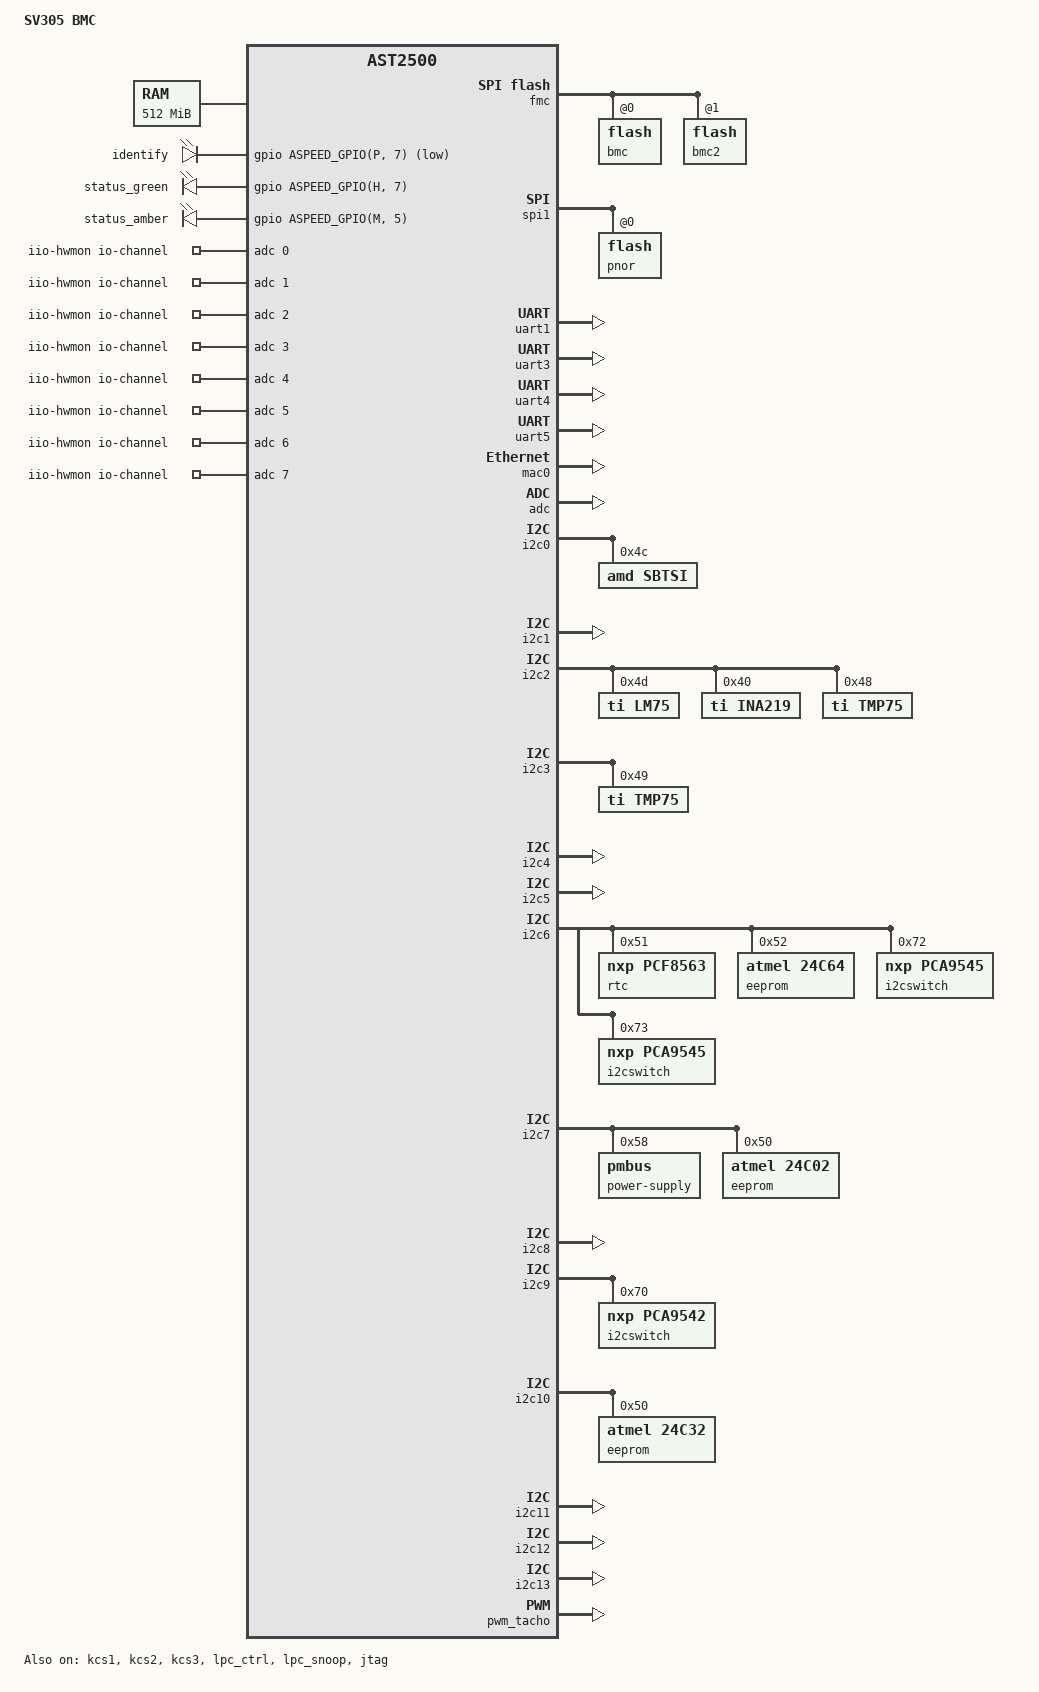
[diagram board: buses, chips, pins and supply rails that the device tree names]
// SPDX-License-Identifier: GPL-2.0+
// Copyright (c) 2019 Wiwynn Inc.
/dts-v1/;

#include "aspeed-g5.dtsi"
#include <dt-bindings/gpio/aspeed-gpio.h>

/ {
	model = "SV305 BMC";
	compatible = "wiwynn,sv305-bmc", "aspeed,ast2500";
	aliases {
		serial0 = &uart1;
		serial4 = &uart5;
	};
	chosen {
		stdout-path = &uart5;
		bootargs = "console=ttyS4,115200 earlyprintk";
	};

	memory@80000000 {
		reg = <0x80000000 0x20000000>;
	};
	reserved-memory {
		#address-cells = <1>;
		#size-cells = <1>;
		ranges;

		flash_memory: region@98000000 {
			no-map;
			reg = <0x98000000 0x04000000>; /* 64M */
		};

		vga_memory: framebuffer@7f000000 {
			no-map;
			reg = <0x7f000000 0x01000000>;
		};
		safs_memory: region@30000000 {
			no-map;
			reg = <0x30000000 0x08000000>; /* 128M */
		};

		ramoops@9c000000 {
			compatible = "ramoops";
			reg = <0x9c000000 0x180000>;
			record-size = <0x4000>;
			console-size = <0x4000>;
			pmsg-size = <0x4000>;
			max-reason = <3>; /* KMSG_DUMP_EMERG */
		};

		gfx_memory: framebuffer@9f000000 {
			no-map;
			compatible = "shared-dma-pool";
			reg = <0x9f000000 0x01000000>; /* 16M */
		};
	};

	leds {
		compatible = "gpio-leds";

		identify {
			gpios = <&gpio ASPEED_GPIO(P, 7) GPIO_ACTIVE_LOW>;
			default-state = "keep";
			retain-state-shutdown;
		};

		status_green {
			gpios = <&gpio ASPEED_GPIO(H, 7) GPIO_ACTIVE_HIGH>;
			default-state = "off";
		};

		status_amber {
			gpios = <&gpio ASPEED_GPIO(M, 5) GPIO_ACTIVE_HIGH>;
			default-state = "on";
		};
	};

	gpio-keys {
		compatible = "gpio-keys";
/*
		id-button {
			label = "id-button";
			gpios = <&gpio ASPEED_GPIO(X, 4) GPIO_ACTIVE_LOW>;
			linux,code = <ASPEED_GPIO(X, 4)>;
		};
		 end-of-post {
			 label = "end-of-post";
			 gpios = <&gpio ASPEED_GPIO(A, 2) GPIO_ACTIVE_LOW>;
			 linux,code = <ASPEED_GPIO(A, 2)>;
		};
*/
/*
		prochot0 {
			label = "prochot0";
			gpios = <&gpio ASPEED_GPIO(C, 6) GPIO_ACTIVE_LOW>;
			linux,code = <ASPEED_GPIO(C, 6)>;
		};
		prochot1 {
			label = "prochot1";
			gpios = <&gpio ASPEED_GPIO(C, 7) GPIO_ACTIVE_LOW>;
			linux,code = <ASPEED_GPIO(C, 7)>;
		};
*/
	};

	iio-hwmon {
		compatible = "iio-hwmon";
		io-channels = <&adc 0>, <&adc 1>, <&adc 2>, <&adc 3>,
			<&adc 4>, <&adc 5>, <&adc 6>, <&adc 7>, <&adc 8>, 
			<&adc 9>, <&adc 10>, <&adc 11>, <&adc 12>, <&adc 13>;
	};
/*
	iio-hwmon-battery {
		compatible = "iio-hwmon";
		io-channels = <&adc 7>;
	};
*/
};

&fmc {
	status = "okay";
	flash@0 {
		status = "okay";
		m25p,fast-read;
		label = "bmc";
//        #include "openbmc-flash-layout.dtsi"
		#include "openbmc-flash-layout-64M.dtsi"
	};
        flash@1 {
		status = "okay";
		m25p,fast-read;
		label = "bmc2";
	};
};

&spi1 {
	status = "okay";
	pinctrl-names = "default";
	pinctrl-0 = <&pinctrl_spi1_default>;
	flash@0 {
		status = "okay";
		m25p,fast-read;
		label = "pnor";
	};
};

&uart1 {
	status = "okay";
	pinctrl-names = "default";
	pinctrl-0 = <&pinctrl_txd1_default
	             &pinctrl_rxd1_default
	             &pinctrl_ncts1_default
	             &pinctrl_nrts1_default>;
};

&uart3 {
	status = "okay";
	pinctrl-names = "default";
	pinctrl-0 = <&pinctrl_txd3_default
		     &pinctrl_rxd3_default>;
};

&uart4 {
	status = "okay";
	pinctrl-names = "default";
	pinctrl-0 = <&pinctrl_txd4_default
		     &pinctrl_rxd4_default>;
};

&uart5 {
	// BMC Console
	status = "okay";
};

&kcs1 {
	// BMC KCS channel 1
	status = "okay";
	aspeed,lpc-io-reg = <0xca0>;
};

&kcs2 {
	// BMC KCS channel 2
	status = "okay";
	aspeed,lpc-io-reg = <0xca8>;
};

&kcs3 {
	// BMC KCS channel 3
	status = "okay";
	aspeed,lpc-io-reg = <0xca2>;
};

&mac0 {
	status = "okay";

	pinctrl-names = "default";
	pinctrl-0 = <&pinctrl_rgmii1_default &pinctrl_mdio1_default>;
};

/*
&mac1 {
	pntctrl-names = "default";
	pinctrl-0 = <&pinctrl_rmii2_default>;
	use-ncsi;
};
*/

&adc {
	status = "okay";
	clock-divisor = <0x140>;
};

&i2c0 {
	status = "okay";
	sbtsi@4c {
		compatible = "amd,sbtsi";
		reg = <0x4c>;
	};
};

&i2c1 {
	status = "okay";
};

&i2c2 {
	status = "okay";

	/* FP Temp */
	lm75@4d {
		compatible = "ti,lm75";
		reg = <0x4d>;
	};

	/* Fan Power */
	ina219@40 {
		compatible = "ti,ina219";
		reg = <0x40>;
		shunt-resistor = <2000>;
	};

	/* Inlet Temp */
	tmp75@48 {
		compatible = "ti,tmp75";
		reg = <0x48>;
	};
};

&i2c3 {
	status = "okay";
	/* Outlet Temp */
	tmp75@49 {
		compatible = "ti,tmp75";
		reg = <0x49>;
	};
};

&i2c4 {
	status = "okay";
};

&i2c5 {
	status = "okay";
};

&i2c6 {
	status = "okay";
	rtc@51 {
		compatible = "nxp,pcf8563";
		reg = <0x51>;
	};
	eeprom@52 {
		compatible = "atmel,24c64";
		reg = <0x52>;
		pagesize = <32>;
	};
	i2cswitch@72 {
		compatible = "nxp,pca9545";
                idle-state = <0>;
                i2c-mux-idle-disconnect;
		reg = <0x72>;
	};
	i2cswitch@73 {
		compatible = "nxp,pca9545";
                idle-state = <0>;
                i2c-mux-idle-disconnect;
		reg = <0x73>;
	};
};

&i2c7 {
	status = "okay";
	power-supply@58{
        	compatible = "pmbus";
		reg = <0x58>;
    	};

	/* PSU FRU */
	eeprom@50 {
        	compatible = "atmel,24c02";
		reg = <0x50>;
	};
};

&i2c8 {
	status = "okay";
};

&i2c9 {
	status = "okay";
	i2cswitch@70 {
		compatible = "nxp,pca9542";
		reg = <0x70>;
	};
};

&i2c10 {
	status = "okay";

	/* NIC FRU */
	eeprom@50 {
		compatible = "atmel,24c32";
		reg = <0x50>;
	};
};

&i2c11 {
	status = "okay";
};

&i2c12 {
	status = "okay";
};

&i2c13 {
	status = "okay";
};

&pwm_tacho {
	status = "okay";
	pinctrl-names = "default";
	pinctrl-0 = <&pinctrl_pwm0_default
	             &pinctrl_pwm1_default
		     &pinctrl_pwm2_default
		     &pinctrl_pwm3_default
		     &pinctrl_pwm4_default
		     &pinctrl_pwm5_default>;

	fan@0 {
		reg = <0x00>;
		aspeed,fan-tach-ch = /bits/ 8 <0x00>;
	};

	fan@1 {
		reg = <0x01>;
		aspeed,fan-tach-ch = /bits/ 8 <0x01>;
	};

	fan@2 {
		reg = <0x02>;
		aspeed,fan-tach-ch = /bits/ 8 <0x02>;
	};

	fan@3 {
		reg = <0x03>;
		aspeed,fan-tach-ch = /bits/ 8 <0x03>;
	};

	fan@4 {
		reg = <0x04>;
		aspeed,fan-tach-ch = /bits/ 8 <0x04>;
	};

	fan@5 {
		reg = <0x05>;
		aspeed,fan-tach-ch = /bits/ 8 <0x05>;
	};
};

&lpc_ctrl {
	status = "okay";
	memory-region = <&flash_memory>;
	flash = <&spi1>;
};

&gpio {
	status = "okay";
	gpio-line-names =
	/*A0-A7*/   "","","","P3VBAT_BRIDGE_EN","","","","",
	/*B0-B7*/   "","","","","","","","",
	/*C0-C7*/   "","","","","","","","",
	/*D0-D7*/   "","","","","","","","",
	/*E0-E7*/   "","","","","","","","",
	/*F0-F7*/   "","","","","","","","",
	/*G0-G7*/   "","","","","","","","",
	/*H0-H7*/   "","","","","","","","",
	/*I0-I7*/   "","","","","","","","",
	/*J0-J7*/   "","","","","","","","",
	/*K0-K7*/   "","","","","","","","",
	/*L0-L7*/   "","","","","","","","",
	/*M0-M7*/   "","","","","","","","",
	/*N0-N7*/   "","","","","","","","",
	/*O0-O7*/   "","","","","","","","",
	/*P0-P7*/   "","","","","","","","",
	/*Q0-Q7*/   "","","","","","","","",
	/*R0-R7*/   "","","","","","","","",
	/*S0-S7*/   "","","","","","","","",
	/*T0-T7*/   "","","","","","","","",
	/*U0-U7*/   "","","","","","","","",
	/*V0-V7*/   "","","","","","","","",
	/*W0-W7*/   "","","","","","","","",
	/*X0-X7*/   "","","","","","","","",
	/*Y0-Y7*/   "","","","","","","","",
	/*Z0-Z7*/   "","","","","","","","",
	/*AA0-AA7*/ "","","","","","","","",
	/*AB0-AB7*/ "","","","","","","","",
	/*AC0-AC7*/ "","","","","","","","";
};


&lpc_snoop {
    status = "okay";
    snoop-ports = <0x80>;
};

&jtag {
    status = "okay";
};

